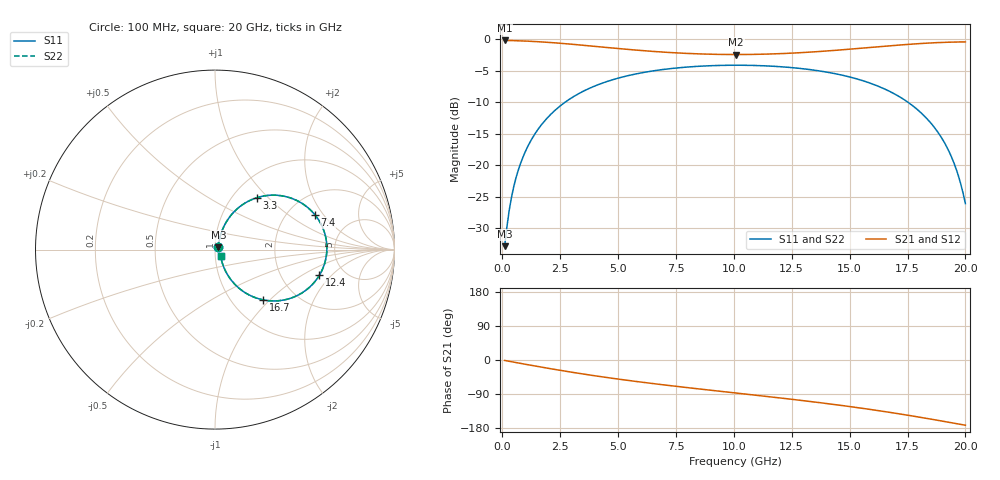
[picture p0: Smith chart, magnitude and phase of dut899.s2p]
! Touchstone file exported from HFSS 2026.1.0
!  File:  C:/ffzhzh/LocalFiles/Ansys_Project_Files/temp_train_TSV_RDL_899_1783276027_30076.aedt
!  Generated:  02:38:35 AM Jul  6, 2026
!  Design:  TSV_RDL
!  Project:  temp_train_TSV_RDL_899_1783276027_30076
! Variables:
!  h_bsmrdl = 3.56um
!  h_ox = 20um
!  h_rdl = 5um
!  h_sub = 87.26um
!  h_tmrdl = 4.08um
!  h_tsv = 87.26um
!  h_via = 3um
!  l_bsmrdl = 261.7um
!  l_sub = 2752.68um
!  l_tmrdl = 373.16um
!  m_sub = 200um
!  pitch = 49.03um
!  r_tsv = 6.67um
!  s_tmrdl = 10um
!  w_bsmrdl = 11.74um
!  w_sub = 500um
!  w_tmrdl = 13.24um
!  x_tsv_center1 = 379.78um
!  x_tsv_center2 = 653.22um
!  x_tsv_center3 = 1039.62um
!  x_tsv_center4 = 1313.06um
!  x_tsv_center5 = 1699.46um
!  x_tsv_center6 = 1972.9um
# GHz S MA R 50.000000
! Terminal data exported
! Port[1] = TM_RDL1_1_T1
! Port[2] = TM_RDL5_1_T1
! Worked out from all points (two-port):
!   200 points, 100 MHz to 20 GHz, reference 50 ohm
!   highest |S21| = -0.16 dB at 100 MHz (marker M1); lowest = -2.4 dB at 10.1 GHz (marker M2)
!   |S21| within 3 dB of the highest: start of sweep to end of sweep
!   lowest |S11| = -32.9 dB at 100 MHz (marker M3), VSWR 1.05, Z = 51.9 + j1.34 ohm
!   |S11| at or under -10 dB: start of sweep to 2.708 GHz; 17.52 GHz to end of sweep
!   |S22| runs from -32.9 to -4.1 dB; largest |S21 - S12| = 1.1e-13
!   S11 on the Smith chart (normalised r, x): 100 MHz: 1.04, +0.03; 3.3 GHz: 1.28, +0.86; 7.4 GHz: 2.79, +1.66; 12.4 GHz: 3.29, -1.46; 16.7 GHz: 1.39, -0.91; 20 GHz: 1.06, -0.08
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0.1  0.02265 34.7  0.9816 -1.2  0.9816 -1.2  0.02265 34.7
! Gamma 0 0 0 0
! Port Impedance 50 0 50 0
0.3  0.04378 60.9  0.9803 -3.5  0.9803 -3.5  0.04378 60.9
0.5  0.06798 67.5  0.9783 -5.7  0.9783 -5.7  0.06798 67.5
0.8  0.1046 69.6  0.9741 -9.1  0.9741 -9.1  0.1046 69.6
1.1  0.1407 69.0  0.969 -12.4  0.969 -12.4  0.1407 69.0
1.5  0.1876 66.6  0.9605 -16.8  0.9605 -16.8  0.1876 66.6
2  0.2435 62.7  0.9476 -22.1  0.9476 -22.1  0.2435 62.7
3.3  0.3704 51.2  0.9055 -35.2  0.9055 -35.2  0.3704 51.2
3.5  0.3873 49.5  0.8985 -37.1  0.8985 -37.1  0.3873 49.5
5  0.4919 36.9  0.8466 -50.3  0.8466 -50.3  0.4919 36.9
6.8  0.572 23.4  0.7962 -64.4  0.7962 -64.4  0.572 23.4
7.4  0.5896 19.2  0.7838 -68.7  0.7838 -68.7  0.5896 19.2
10.1  0.6235 1.4  0.7584 -87.2  0.7584 -87.2  0.6235 1.4
12.4  0.5992 -13.7  0.7764 -103.0  0.7764 -103.0  0.5992 -13.7
13.4  0.572 -20.6  0.795 -110.2  0.795 -110.2  0.572 -20.6
15.2  0.4918 -34.0  0.8422 -124.5  0.8422 -124.5  0.4919 -34.0
16.7  0.3885 -46.2  0.8889 -137.8  0.8889 -137.8  0.3885 -46.2
17.9  0.2795 -56.1  0.9238 -149.6  0.9238 -149.6  0.2795 -56.1
18.8  0.1841 -62.4  0.9436 -159.1  0.9436 -159.1  0.1841 -62.4
19.5  0.1047 -63.3  0.953 -166.6  0.953 -166.6  0.1047 -63.3
19.8  0.07073 -59.0  0.9552 -169.9  0.9552 -169.9  0.07071 -59.1
20  0.04937 -50.4  0.9559 -172.1  0.9559 -172.1  0.04933 -50.5
